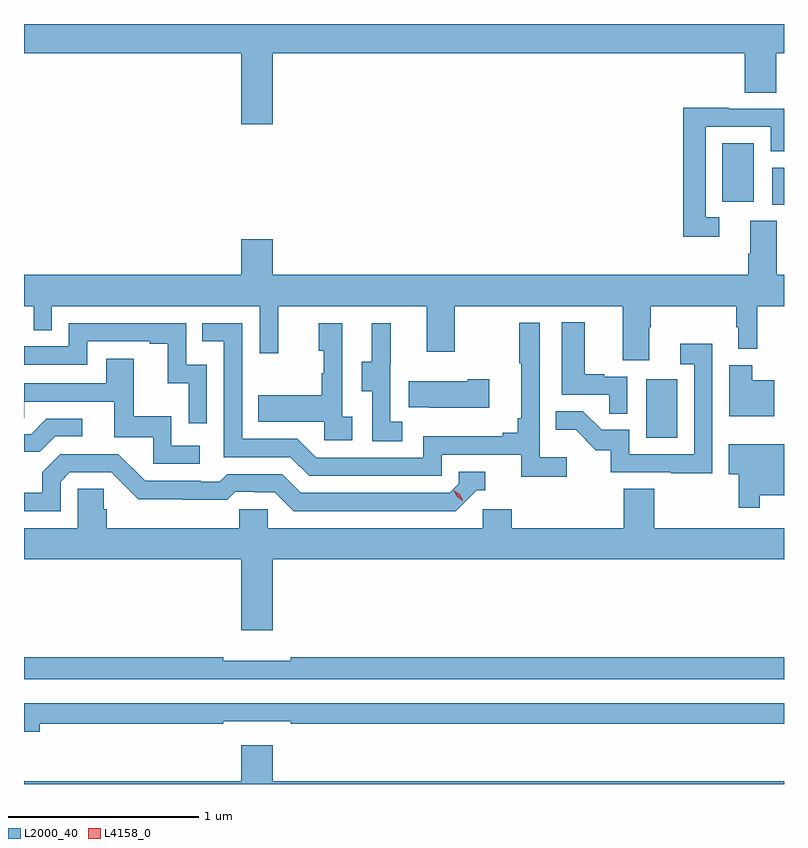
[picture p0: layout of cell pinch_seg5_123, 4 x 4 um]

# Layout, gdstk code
import gdstk
lib = gdstk.Library(unit=1e-6, precision=1e-09)
def R(c, l, rs):  # rectangles x0, y0, x1, y1
    for r in rs: c.add(gdstk.rectangle(r[:2], r[2:], *l))
def P(c, l, *ps):  # polygons
    for p in ps: c.add(gdstk.Polygon(p, *l))
L2000_40 = (2000, 40)
L4158_0 = (4158, 0)

pinch_seg5_123 = lib.new_cell('pinch_seg5_123')
R(pinch_seg5_123, L2000_40, [(1066.238,880.044,1066.402,880.351), (1066.902,881.271,1066.964,881.465), (1066.64,881.286,1066.804,881.593)])
P(pinch_seg5_123, L2000_40, [(1062.964,882.068),(1064.108,882.068),(1064.108,881.694),(1064.272,881.694),(1064.272,882.068),(1066.757,882.068),(1066.757,881.86),(1066.922,881.86),(1066.922,882.068),(1066.964,882.068),(1066.964,882.221),(1062.964,882.221)],
  [(1066.624,881.205),(1066.551,881.205),(1066.551,881.679),(1066.893,881.679),(1066.893,881.55),(1066.964,881.55),(1066.964,881.775),(1066.673,881.775),(1066.673,881.78),(1066.435,881.78),(1066.435,881.1),(1066.624,881.1)],
  [(1066.255,880.624),(1066.263,880.624),(1066.263,880.736),(1066.713,880.736),(1066.713,880.624),(1066.724,880.624),(1066.724,880.511),(1066.823,880.511),(1066.823,880.736),(1066.964,880.736),(1066.964,880.9),(1066.927,880.9),(1066.927,881.186),(1066.787,881.186),(1066.787,881.012),(1066.775,881.012),(1066.775,880.9),(1064.272,880.9),(1064.272,881.089),(1064.108,881.089),(1064.108,880.9),(1062.964,880.9),(1062.964,880.736),(1063.014,880.736),(1063.014,880.609),(1063.11,880.609),(1063.11,880.736),(1064.205,880.736),(1064.205,880.488),(1064.303,880.488),(1064.303,880.736),(1065.083,880.736),(1065.083,880.497),(1065.231,880.497),(1065.231,880.736),(1066.115,880.736),(1066.115,880.45),(1066.255,880.45)],
  [(1066.14,880.365),(1066.019,880.365),(1066.019,880.378),(1065.916,880.378),(1065.916,880.651),(1065.794,880.651),(1065.794,880.269),(1066.045,880.269),(1066.045,880.171),(1066.14,880.171)],
  [(1065.82,879.94),(1065.678,879.94),(1065.678,880.648),(1065.57,880.648),(1065.57,880.435),(1065.581,880.435),(1065.581,880.147),(1065.562,880.147),(1065.562,880.07),(1065.485,880.07),(1065.485,880.051),(1065.066,880.051),(1065.066,879.939),(1064.502,879.939),(1064.403,880.038),(1064.112,880.038),(1064.112,880.647),(1063.903,880.647),(1063.903,880.551),(1064.016,880.551),(1064.016,879.942),(1064.366,879.942),(1064.465,879.843),(1065.162,879.843),(1065.162,879.954),(1065.581,879.954),(1065.581,879.838),(1065.82,879.838)],
  [(1063.926,880.428),(1063.818,880.428),(1063.818,880.647),(1063.2,880.647),(1063.2,880.524),(1062.964,880.524),(1062.964,880.428),(1063.296,880.428),(1063.296,880.551),(1063.625,880.551),(1063.625,880.539),(1063.721,880.539),(1063.721,880.331),(1063.83,880.331),(1063.83,880.119),(1063.926,880.119)],
  [(1064.956,880.127),(1064.892,880.127),(1064.892,880.431),(1064.894,880.431),(1064.894,880.645),(1064.795,880.645),(1064.795,880.443),(1064.741,880.443),(1064.741,880.288),(1064.796,880.288),(1064.796,880.024),(1064.956,880.024)],
  [(1064.692,880.154),(1064.64,880.154),(1064.64,880.645),(1064.516,880.645),(1064.516,880.5),(1064.542,880.5),(1064.542,880.382),(1064.532,880.382),(1064.532,880.267),(1064.197,880.267),(1064.197,880.127),(1064.544,880.127),(1064.544,880.029),(1064.692,880.029)],
  [(1066.587,880.537),(1066.419,880.537),(1066.419,880.431),(1066.491,880.431),(1066.491,879.957),(1066.149,879.957),(1066.149,880.086),(1066.004,880.086),(1065.906,880.184),(1065.763,880.184),(1065.763,880.085),(1065.867,880.085),(1065.974,879.978),(1066.051,879.978),(1066.051,879.861),(1066.369,879.861),(1066.369,879.856),(1066.587,879.856)],
  [(1063.888,880.002),(1063.74,880.002),(1063.74,880.156),(1063.541,880.156),(1063.541,880.459),(1063.397,880.459),(1063.397,880.329),(1062.964,880.329),(1062.964,880.149),(1062.965,880.149),(1062.965,880.233),(1063.439,880.233),(1063.439,880.047),(1063.644,880.047),(1063.644,879.906),(1063.888,879.906)],
  [(1066.912,880.345),(1066.798,880.345),(1066.798,880.426),(1066.676,880.426),(1066.676,880.157),(1066.912,880.157)],
  [(1065.412,880.35),(1065.299,880.35),(1065.299,880.342),(1064.989,880.342),(1064.989,880.205),(1065.097,880.205),(1065.097,880.202),(1065.412,880.202)],
  [(1063.128,880.05),(1063.27,880.05),(1063.27,880.143),(1063.082,880.143),(1063.001,880.062),(1062.964,880.062),(1062.964,879.97),(1063.048,879.97)],
  [(1066.837,879.74),(1066.964,879.74),(1066.964,880.009),(1066.674,880.009),(1066.674,879.851),(1066.727,879.851),(1066.727,879.675),(1066.837,879.675)],
  [(1063.158,879.813),(1063.206,879.861),(1063.422,879.861),(1063.564,879.719),(1063.8,879.719),(1063.8,879.717),(1064.033,879.717),(1064.075,879.759),(1064.178,879.759),(1064.178,879.756),(1064.285,879.756),(1064.384,879.657),(1065.237,879.657),(1065.348,879.768),(1065.391,879.768),(1065.391,879.864),(1065.252,879.864),(1065.252,879.801),(1065.204,879.753),(1064.421,879.753),(1064.322,879.852),(1064.033,879.852),(1063.994,879.813),(1063.895,879.813),(1063.895,879.816),(1063.602,879.816),(1063.461,879.957),(1063.155,879.957),(1063.061,879.863),(1063.061,879.753),(1062.964,879.753),(1062.964,879.657),(1063.158,879.657)],
  [(1064.272,879.404),(1066.964,879.404),(1066.964,879.568),(1066.281,879.568),(1066.281,879.776),(1066.121,879.776),(1066.121,879.568),(1065.53,879.568),(1065.53,879.666),(1065.378,879.666),(1065.378,879.568),(1064.247,879.568),(1064.247,879.666),(1064.097,879.666),(1064.097,879.568),(1063.4,879.568),(1063.4,879.666),(1063.385,879.666),(1063.385,879.776),(1063.248,879.776),(1063.248,879.568),(1062.964,879.568),(1062.964,879.404),(1064.108,879.404),(1064.108,879.03),(1064.272,879.03)],
  [(1066.964,878.888),(1064.368,878.888),(1064.368,878.869),(1064.012,878.869),(1064.012,878.888),(1062.964,878.888),(1062.964,878.772),(1066.964,878.772)],
  [(1063.048,878.538),(1064.012,878.538),(1064.012,878.55),(1064.368,878.55),(1064.368,878.538),(1066.964,878.538),(1066.964,878.646),(1062.964,878.646),(1062.964,878.495),(1063.048,878.495)],
  [(1066.964,878.236),(1064.272,878.236),(1064.272,878.425),(1064.108,878.425),(1064.108,878.236),(1062.964,878.236),(1062.964,878.221),(1066.964,878.221)])
P(pinch_seg5_123, L4158_0, [(1065.274,879.713),(1065.243,879.733),(1065.227,879.766),(1065.227,879.766),(1065.227,879.766),(1065.258,879.746),(1065.274,879.714),(1065.274,879.713)])

lib.write_gds('pinch_seg5_123.gds')
